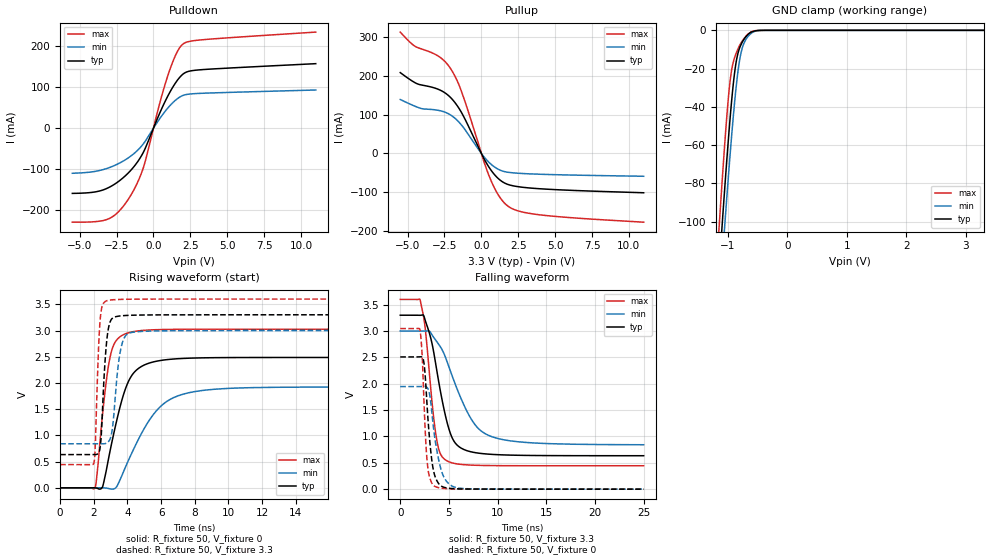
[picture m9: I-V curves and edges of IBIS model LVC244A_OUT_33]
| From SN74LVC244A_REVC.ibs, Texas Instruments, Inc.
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[Model]   LVC244A_OUT_33
Model_type  3-state
Enable   Active-Low
Vref =   0
Rref =   500
Cref =   50p
Vmeas =   1.5
| variable   typ   min   max
C_comp   3.70pF   3.32pF   4.27pF
| C_pullup   8.34pF   3.87pF   12.57pF
| C_pulldown   6.60pF   3.56pF   12.66pF
| C_tri-state   3.70pF   3.32pF   4.27pF
[Temperature Range]   40   100   -40
| Ambient temperature   25   85   -40
[Voltage range]   3.3   3   3.6
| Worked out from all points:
|   slope of the pulldown table from 0 to 0.495 V, typ, clamps not added: 11.7 ohm
|   slope of the pullup table from 0 to 0.495 V, typ, clamps not added: 14.4 ohm
|   GND clamp passes 1 mA (typ) near -0.61 V on its own axis
|   rising waveform, R_fixture 50, V_fixture 0: 20-80 % time 1.16ns typ, 2.06ns min, 628ps max; typ from 0 V to 2.49 V
|   falling waveform, R_fixture 50, V_fixture 3.3: 20-80 % time 1.7ns typ, 2.99ns min, 1.02ns max; typ from 3.3 V to 0.634 V
|   rising waveform, R_fixture 50, V_fixture 3.3: 20-80 % time 285ps typ, 402ps min, 212ps max; typ from 0.634 V to 3.3 V
|   falling waveform, R_fixture 50, V_fixture 0: 20-80 % time 660ps typ, 977ps min, 449ps max; typ from 2.51 V to 0 V
[GND Clamp]
| LVC244A_OUT_33
|   Voltage   I(typ)   I(min)   I(max)
-5.5V     -2.404A    -2.35A     -2.478A
-1.16V    -130.8mA   -149.3mA   -109mA
-1.135V   -119.3mA   -138.1mA   -96.92mA
-1.095V   -101.1mA   -120.3mA   -78.15mA
-1.065V   -87.8mA    -107.3mA   -64.63mA
-1.05V    -81.28mA   -100.8mA   -58.11mA
-960mV    -44.92mA   -63.9mA    -25.79mA
-905mV    -26.86mA   -43.63mA   -16.07mA
-860mV    -16.39mA   -29.29mA   -11.91mA
-760mV    -6.281mA   -9.433mA   -5.644mA
-610mV    -992.5uA   -1.611mA   -858.5uA
3.3V      99.71pA    617.3nA    40.99pA
[Pulldown]
| LVC244A_OUT_33
|   Voltage   I(typ)   I(min)   I(max)
-5.5V     -158.7mA   -109.7mA   -228.6mA
-3.025V   -144.3mA   -96.32mA   -220.3mA
-2.33V    -128.6mA   -85.51mA   -201.7mA
-1.6V     -105mA     -69.54mA   -167mA
-1.08V    -82mA      -53.93mA   -132.1mA
-665mV    -57.29mA   -37.15mA   -93.9mA
450mV     38.69mA    24.45mA    63.98mA
1.09V     86mA       53.75mA    140.1mA
1.585V    114.8mA    70.7mA     184mA
1.99V     131.2mA    79.41mA    204.4mA
3.175V    142.1mA    84.7mA     214.6mA
11V       156.9mA    92.85mA    233.8mA
[Pullup]
| LVC244A_OUT_33
|   Voltage   I(typ)   I(min)   I(max)
-5.5V     208.9mA    139.3mA    313.5mA
-4.515V   183.1mA    122.2mA    277.2mA
-2.765V   163mA      110.1mA    247.3mA
-2.02V    141.7mA    97.67mA    215.1mA
-1.29V    101.8mA    70.66mA    153.7mA
170mV     -12.86mA   -8.44mA    -20.6mA
585mV     -39.44mA   -25.5mA    -63.88mA
1.17V     -65.66mA   -41.32mA   -108.5mA
1.765V    -79.61mA   -48.34mA   -135mA
2.54V     -86.1mA    -51.21mA   -148.9mA
3.93V     -91.11mA   -53.65mA   -158.4mA
11V       -101.5mA   -58.93mA   -177.6mA
[Ramp]
| LVC244A_OUT_33
| variable   typ   min   max
dV/dt_r   1.51/1.17E-09   1.17/2.07E-09   1.83/6.32E-10
dV/dt_f   1.60/1.70E-09   1.30/2.99E-09   1.90/1.02E-09
R_load = 50
[Rising Waveform]
| LVC244A_OUT_33
R_fixture =   50
C_fixture =   0
L_fixture =   0
V_fixture =   0
V_fixture_min = 0
V_fixture_max = 0
|   Time   V(typ)   V(min)   V(max)
0s        392.8pV    3.681nV    162.3pV
2.085ns   -103.4uV   311.3uV    13.92mV
2.52ns    18.47mV    1.313mV    1.4V
2.95ns    675.6mV    -19.04mV   2.464V
3.29ns    1.183V     -3.49mV    2.789V
3.905ns   1.908V     412.3mV    2.941V
4.555ns   2.252V     861.9mV    2.989V
5.69ns    2.412V     1.457V     3.016V
7.63ns    2.472V     1.812V     3.024V
24.99ns   2.486V     1.923V     3.025V
[Falling Waveform]
| LVC244A_OUT_33
R_fixture =   50
C_fixture =   0
L_fixture =   0
V_fixture =   3.3
V_fixture_min = 3
V_fixture_max = 3.6
|   Time   V(typ)   V(min)   V(max)
0s        3.3V       3V         3.6V
2.045ns   3.298V     3V         3.59V
2.55ns    3.211V     2.999V     3.076V
3.69ns    2.323V     2.815V     1.001V
4.075ns   1.91V      2.713V     692.2mV
4.65ns    1.387V     2.498V     553.7mV
5.91ns    824.2mV    1.868V     477.5mV
7.52ns    698.9mV    1.264V     454.9mV
9.085ns   664.2mV    1.019V     448.3mV
24.99ns   634.4mV    842.4mV    443.6mV
[Rising Waveform]
| LVC244A_OUT_33
R_fixture =   50
C_fixture =   0
L_fixture =   0
V_fixture =   3.3
V_fixture_min = 3
V_fixture_max = 3.6
|   Time   V(typ)   V(min)   V(max)
0s        634.3mV    840.5mV    443.6mV
2ns       634.8mV    840.7mV    470.4mV
2.085ns   634.7mV    840.7mV    782.7mV
2.255ns   653.2mV    840.7mV    2.439V
2.37ns    755.2mV    840.5mV    3.172V
2.77ns    2.806V     855.5mV    3.568V
3.085ns   3.228V     1.086V     3.585V
3.6ns     3.279V     2.641V     3.594V
4.12ns    3.29V      2.952V     3.597V
24.99ns   3.3V       3V         3.6V
[Falling Waveform]
| LVC244A_OUT_33
R_fixture =   50
C_fixture =   0
L_fixture =   0
V_fixture =   0
V_fixture_min = 0
V_fixture_max = 0
|   Time   V(typ)   V(min)   V(max)
0s        2.509V     1.946V     3.047V
2.025ns   2.51V      1.946V     3.026V
2.24ns    2.504V     1.948V     2.572V
2.43ns    2.4V       1.952V     1.697V
2.765ns   1.561V     1.927V     522.3mV
3.135ns   717.3mV    1.645V     161.3mV
3.495ns   289.9mV    1.044V     59.28mV
4.37ns    43.82mV    275.9mV    15.76mV
5.69ns    7.801mV    32.31mV    2.842mV
24.99ns   38.57uV    93.03uV    16.2uV
